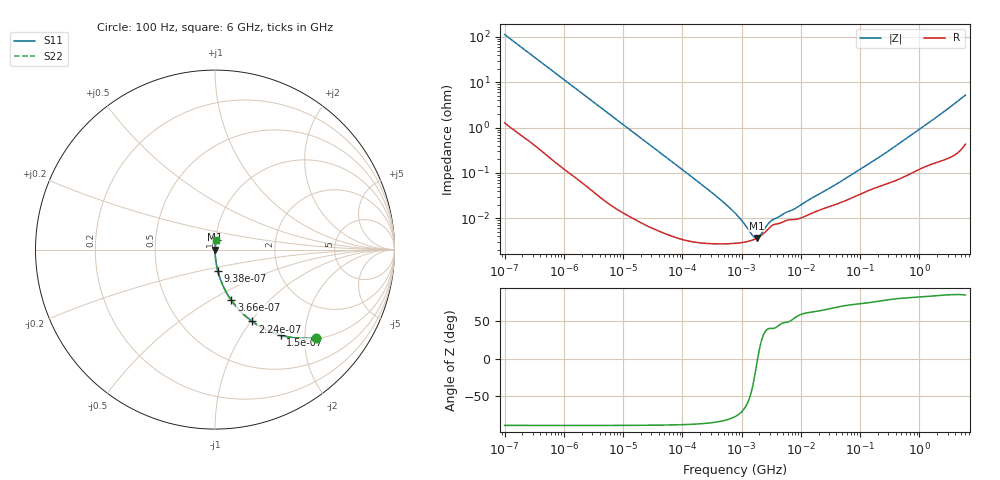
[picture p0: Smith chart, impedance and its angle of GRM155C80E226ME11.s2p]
!Murata Part Number: GRM155C80E226ME11
!These Parameters are Measured in Series Mode Connection
!Data Generated on Mar 30, 2021
!  o--ll--o
!Port1  Port2
!  o------o
!Operation Temp=25[degC], DC Bias Voltage=0[V]
!Freq. Start=100[Hz] Stop=6[GHz] 401[Steps]
# Hz S RI R 50
!Freq.(Hz) S11(Real) S11(Imag) S21(Real) S21(Imag) S12(Real) S12(Imag) S22(Real) S22(Imag)
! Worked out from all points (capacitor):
!   401 points, 100 Hz to 6 GHz, reference 50 ohm
!   read as one part in series: C = 14 uF near 109 Hz
!   lowest |Z| = 3.64 mohm at 1.814 MHz (marker M1)
!   series resonance near 1.867 MHz, so ESL is about 520 pH
!   S11 on the Smith chart (normalised r, x): 100 Hz: 1.03, -2.26; 150 Hz: 1.02, -1.52; 224 Hz: 1.01, -1.02; 366 Hz: 1.01, -0.62; 938 Hz: 1.00, -0.24; 6 GHz: 1.01, +0.10
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100  0.5604 -0.4907  0.4396 0.4907  0.4396 0.4907  0.5604 -0.4907
150  0.3661 -0.4762  0.6339 0.4762  0.6339 0.4762  0.3661 -0.4762
224  0.2076 -0.4  0.7924 0.4  0.7924 0.4  0.2076 -0.4
366  0.0911 -0.2821  0.9089 0.2821  0.9089 0.2821  0.0911 -0.2821
548  0.0438 -0.1992  0.9562 0.1992  0.9562 0.1992  0.0438 -0.1992
938  0.016 -0.1203  0.984 0.1203  0.984 0.1203  0.016 -0.1203
2008  0.0039 -0.0572  0.9961 0.0572  0.9961 0.0572  0.0039 -0.0572
6433  0.000513 -0.0181  0.9995 0.0181  0.9995 0.0181  0.000513 -0.0181
40335  6.01e-05 -0.00291  0.9999 0.00291  0.9999 0.00291  6.01e-05 -0.00291
316350  2.74e-05 -0.000364  1 0.000364  1 0.000364  2.74e-05 -0.000364
774597  2.78e-05 -0.000127  1 0.000127  1 0.000127  2.78e-05 -0.000127
885955  2.83e-05 -0.000104  1 0.000104  1 0.000104  2.83e-05 -0.000104
1013323  2.89e-05 -8.27e-05  1 8.27e-05  1 8.27e-05  2.89e-05 -8.27e-05
1813585  3.62e-05 -3.7e-06  1 3.7e-06  1 3.7e-06  3.62e-05 -3.7e-06
3549919  7.26e-05 6.25e-05  0.9999 -6.25e-05  0.9999 -6.25e-05  7.26e-05 6.25e-05
4060267  7.53e-05 7.11e-05  0.9999 -7.11e-05  0.9999 -7.11e-05  7.53e-05 7.11e-05
7947587  9.37e-05 0.000133  0.9999 -0.000133  0.9999 -0.000133  9.37e-05 0.000133
1.555665e7  0.00013 0.000249  0.9999 -0.000249  0.9999 -0.000249  0.00013 0.000249
4.556224e7  0.000217 0.000589  0.9998 -0.000589  0.9998 -0.000589  0.000217 0.000589
3.124326e8  0.000606 0.00308  0.9994 -0.00308  0.9994 -0.00308  0.000606 0.00308
1.95892e9  0.00197 0.0169  0.998 -0.0169  0.998 -0.0169  0.00197 0.0169
6e9  0.0069 0.0512  0.9931 -0.0512  0.9931 -0.0512  0.0069 0.0512
